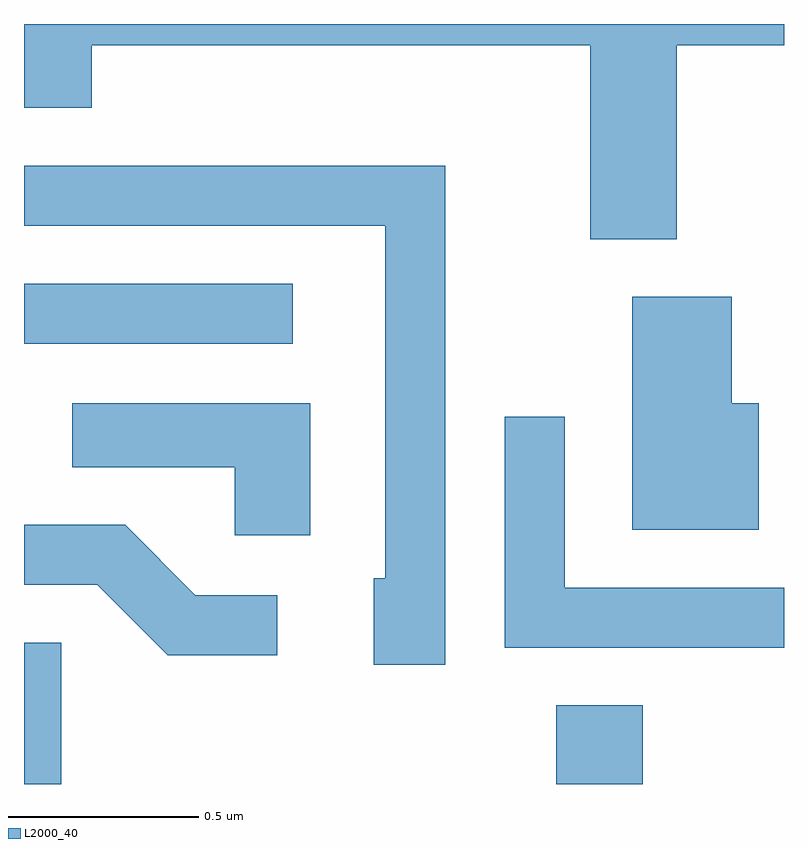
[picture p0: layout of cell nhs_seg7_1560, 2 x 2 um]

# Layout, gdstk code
import gdstk
lib = gdstk.Library(unit=1e-6, precision=1e-09)
def R(c, l, rs):  # rectangles x0, y0, x1, y1
    for r in rs: c.add(gdstk.rectangle(r[:2], r[2:], *l))
def P(c, l, *ps):  # polygons
    for p in ps: c.add(gdstk.Polygon(p, *l))
L2000_40 = (2000, 40)

nhs_seg7_1560 = lib.new_cell('nhs_seg7_1560')
R(nhs_seg7_1560, L2000_40, [(196.611,1721.252,196.709,1721.624), (198.011,1721.252,198.239,1721.459), (196.611,1722.411,197.318,1722.569)])
P(nhs_seg7_1560, L2000_40, [(198.329,1723.196),(198.611,1723.196),(198.611,1723.252),(196.611,1723.252),(196.611,1723.031),(196.789,1723.031),(196.789,1723.196),(198.101,1723.196),(198.101,1722.686),(198.329,1722.686)],
  [(197.719,1722.879),(196.611,1722.879),(196.611,1722.721),(197.561,1722.721),(197.561,1721.794),(197.531,1721.794),(197.531,1721.566),(197.719,1721.566)],
  [(198.544,1722.254),(198.474,1722.254),(198.474,1722.534),(198.211,1722.534),(198.211,1721.921),(198.544,1721.921)],
  [(197.364,1722.254),(196.738,1722.254),(196.738,1722.086),(197.166,1722.086),(197.166,1721.906),(197.364,1721.906)],
  [(198.611,1721.769),(198.034,1721.769),(198.034,1722.218),(197.876,1722.218),(197.876,1721.611),(198.611,1721.611)],
  [(197.278,1721.749),(197.062,1721.749),(196.877,1721.934),(196.611,1721.934),(196.611,1721.776),(196.804,1721.776),(196.989,1721.591),(197.278,1721.591)])

lib.write_gds('nhs_seg7_1560.gds')
